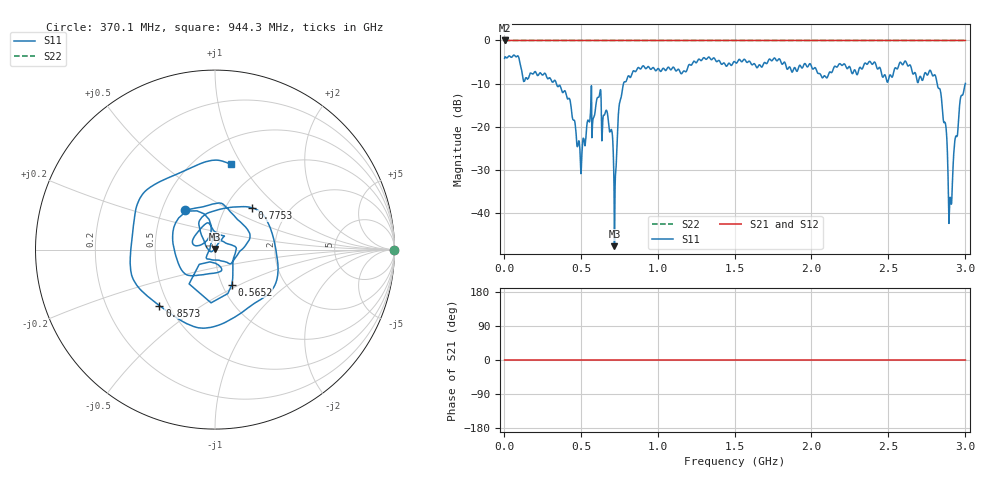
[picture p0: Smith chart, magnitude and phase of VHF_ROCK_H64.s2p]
!Keysight Technologies N9923A: A.08.09
!Date: Thursday, 02 August 2018 07:57:54
!Timezone: (GMT+08:00) Kuala Lumpur, Singapore
!Model: N9923A
!Serial: MY52412143
!GPS Latitude:
!GPS Longitude:
!GPS TimeStamp: 0001-01-01 00:00:00Z
!GPS Seconds Since Last Read: 0
!CHECKSUM:1369773020
!Correction: S11(ON U)S21()S12()S22()
!S2P File: Measurements:S11,S21,S12,S22:
# Hz S DB R 50
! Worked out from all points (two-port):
!   3000 points, 2 MHz to 3.002 GHz, reference 50 ohm
!   highest |S21| = 0.00 dB at 2 MHz (marker M1); lowest = 0.0 dB at 2 MHz (marker M2)
!   |S21| within 3 dB of the highest: start of sweep to end of sweep
!   lowest |S11| = -47.8 dB at 717.2 MHz (marker M3), VSWR 1.01, Z = 49.7 + j0.301 ohm
!   |S11| at or under -10 dB: 338.9 MHz to 776.2 MHz (437.3 MHz wide, 78.4 % of centre); 2.818 GHz to 3.002 GHz (184.2 MHz wide, 6.33 % of centre)
!   |S22| runs from 0.0 to 0.0 dB; largest |S21 - S12| = 0
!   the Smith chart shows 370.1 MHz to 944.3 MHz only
!   S11 on the Smith chart (normalised r, x): 370.1 MHz: 0.66, +0.31; 565.2 MHz: 1.11, -0.45; 775.3 MHz: 1.32, +0.68; 857.3 MHz: 0.44, -0.34; 944.3 MHz: 0.72, +0.90
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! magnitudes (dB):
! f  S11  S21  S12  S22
! 2 MHz  -4.2  0.0  0.0  0.0
! 370.1 MHz  -11.2  0.0  0.0  0.0
! 502.2 MHz  -29.0  0.0  0.0  0.0
! 565.2 MHz  -13.3  0.0  0.0  0.0
! 616.2 MHz  -13.1  0.0  0.0  0.0
! 691.2 MHz  -21.1  0.0  0.0  0.0
! 717.2 MHz  -47.8  0.0  0.0  0.0
! 728.2 MHz  -29.2  0.0  0.0  0.0
! 750.2 MHz  -14.6  0.0  0.0  0.0
! 775.3 MHz  -10.1  0.0  0.0  0.0
! 857.3 MHz  -7.1  0.0  0.0  0.0
! 944.3 MHz  -6.3  0.0  0.0  0.0
! 1.002 GHz  -6.5  0.0  0.0  0.0
! 1.503 GHz  -5.0  0.0  0.0  0.0
! 2.003 GHz  -6.3  0.0  0.0  0.0
! 2.503 GHz  -8.8  0.0  0.0  0.0
! 2.607 GHz  -4.8  0.0  0.0  0.0
! 2.804 GHz  -8.0  0.0  0.0  0.0
! 2.869 GHz  -19.0  0.0  0.0  0.0
! 2.904 GHz  -36.6  0.0  0.0  0.0
! 2.968 GHz  -13.9  0.0  0.0  0.0
! 3.002 GHz  -10.0  0.0  0.0  0.0
